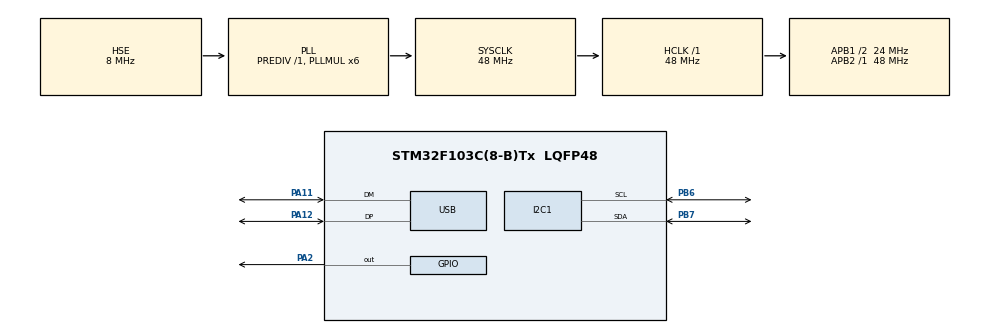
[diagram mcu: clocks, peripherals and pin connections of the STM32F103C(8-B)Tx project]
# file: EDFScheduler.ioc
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FREERTOS.Tasks01=TempTask,25,256,GetTempTask,Default,NULL,Dynamic,NULL,NULL;AccTask,25,256,GetAccTask,Default,NULL,Dynamic,NULL,NULL
FREERTOS.configUSE_NEWLIB_REENTRANT=1
Mcu.Family=STM32F1
Mcu.Name=STM32F103C(8-B)Tx
Mcu.Package=LQFP48
NVIC.PriorityGroup=NVIC_PRIORITYGROUP_4
NVIC.TIM1_UP_IRQn=true\:15\:0\:false\:false\:true\:false\:false\:true\:true
NVIC.TimeBase=TIM1_UP_IRQn
NVIC.TimeBaseIP=TIM1
NVIC.USB_LP_CAN1_RX0_IRQn=true\:5\:0\:false\:false\:true\:true\:false\:true\:true
PA11.Mode=Device
PA11.Signal=USB_DM
PA12.Mode=Device
PA12.Signal=USB_DP
PA13.Mode=Serial_Wire
PA13.Signal=SYS_JTMS-SWDIO
PA14.Mode=Serial_Wire
PA14.Signal=SYS_JTCK-SWCLK
PA2.GPIO_ModeDefaultOutputPP=GPIO_MODE_OUTPUT_PP
PA2.GPIO_PuPd=GPIO_PULLUP
PA2.Signal=GPIO_Output
PB6.Mode=I2C
PB6.Signal=I2C1_SCL
PB7.Mode=I2C
PB7.Signal=I2C1_SDA
PD0-OSC_IN.Mode=HSE-External-Oscillator
PD0-OSC_IN.Signal=RCC_OSC_IN
PD1-OSC_OUT.Mode=HSE-External-Oscillator
PD1-OSC_OUT.Signal=RCC_OSC_OUT
ProjectManager.HeapSize=0x200
ProjectManager.StackSize=0x400
ProjectManager.TargetToolchain=STM32CubeIDE
RCC.AHBFreq_Value=48000000
RCC.APB1CLKDivider=RCC_HCLK_DIV2
RCC.APB1Freq_Value=24000000
RCC.APB1TimFreq_Value=48000000
RCC.APB2Freq_Value=48000000
RCC.APB2TimFreq_Value=48000000
RCC.HCLKFreq_Value=48000000
RCC.PLLMUL=RCC_PLL_MUL6
RCC.SYSCLKFreq_VALUE=48000000
RCC.SYSCLKSource=RCC_SYSCLKSOURCE_PLLCLK
RCC.USBFreq_Value=48000000
USB_DEVICE.CLASS_NAME_FS=CDC
USB_DEVICE.VirtualMode=Cdc
USB_DEVICE.VirtualModeFS=Cdc_FS
VP_FREERTOS_VS_CMSIS_V2.Mode=CMSIS_V2
VP_SYS_VS_tim1.Mode=TIM1
VP_USB_DEVICE_VS_USB_DEVICE_CDC_FS.Mode=CDC_FS
board=custom

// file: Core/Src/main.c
/* USER CODE BEGIN Header */
/**
  ******************************************************************************
  * @file           : main.c
  * @brief          : Main program body
  ******************************************************************************
  * @attention
  *
  * Copyright (c) 2025 STMicroelectronics.
  * All rights reserved.
  *
  * This software is licensed under terms that can be found in the LICENSE file
  * in the root directory of this software component.
  * If no LICENSE file comes with this software, it is provided AS-IS.
  *
  ******************************************************************************
  */
/* USER CODE END Header */
#include "main.h"
#include "cmsis_os.h"
#include "usb_device.h"

/* USER CODE BEGIN Includes */
#include <math.h>
#include<time.h>
#include <SON_CDC_Logger.h>
#include <stdbool.h>
#include <SON_I2C_MPU6050.h>
#include <dht22.h>
#include "usbd_cdc_if.h"
#include <string.h>
/* USER CODE END Includes */

/* USER CODE BEGIN PD */
float temp;
bool status1 = false;
bool status2 = false;
char usb_rx_buffer[64]; // Bộ đệm nhận USB
#define NUM_TASKS 2
/* USER CODE END PD */

/* USER CODE BEGIN PM */
typedef struct {
    uint32_t earliest_deadline;
    uint32_t end_cycle;
    uint32_t deadline;
    uint32_t period;
} TaskState;

TaskState tasks[NUM_TASKS] = {
    {0, 0, 100, 300},  // Temp task
    {0, 0, 50, 150},   // Acc task
};

/* USER CODE END PM */

I2C_HandleTypeDef hi2c1;

/* Definitions for TempTask */
osThreadId_t TempTaskHandle;
const osThreadAttr_t TempTask_attributes = {
  .name = "TempTask",
  .stack_size = 256 * 4,
  .priority = (osPriority_t) osPriorityNormal1,
};
/* Definitions for AccTask */
osThreadId_t AccTaskHandle;
const osThreadAttr_t AccTask_attributes = {
  .name = "AccTask",
  .stack_size = 256 * 4,
  .priority = (osPriority_t) osPriorityNormal1,
};
/* USER CODE BEGIN PV */

void CDC_ReceiveCallback(uint8_t* Buf, uint32_t Len) {
    // Copy dữ liệu nhận vào bộ đệm và thêm ký tự kết thúc chuỗi
    memcpy(usb_rx_buffer, Buf, Len);
    usb_rx_buffer[Len] = '\0'; // Đảm bảo chuỗi kết thúc
     if (strcmp(usb_rx_buffer, "start") == 0) {
            status1 = true; // Bắt đầu hệ thống
            status2 = true;

        } else if (strcmp(usb_rx_buffer, "stop") == 0) {
            status1 = false; // Dừng hệ thống
            status2 = false;
        }

}

uint32_t getCurrentTimeMs() {
    return HAL_GetTick();
}

void updateTaskDeadlines(uint32_t current_time) {
    for (int i = 0; i < NUM_TASKS; i++) {
        if (current_time >= tasks[i].end_cycle) {
            tasks[i].end_cycle += tasks[i].period;
            tasks[i].earliest_deadline = tasks[i].end_cycle - tasks[i].deadline;
        }
    }
}

int getNextTask() {
    int next_task = -1;
    uint32_t earliest_deadline = UINT32_MAX;

    for (int i = 0; i < NUM_TASKS; i++) {
        if (tasks[i].earliest_deadline < earliest_deadline) {
            earliest_deadline = tasks[i].earliest_deadline;
            next_task = i;
        }
    }
    return next_task;
}

/* USER CODE END PV */

void SystemClock_Config(void);
static void MX_GPIO_Init(void);
static void MX_I2C1_Init(void);
void GetTempTask(void *argument);
void GetAccTask(void *argument);

/* USER CODE BEGIN PFP */
void runEDF() {
    uint32_t current_time;
    while (1) {
        if (!status1) {
            osDelay(100); // Tạm dừng nếu hệ thống không hoạt động
            continue;
        }

        current_time = getCurrentTimeMs();
        updateTaskDeadlines(current_time);
        printf("Current Time: %lu ms\n", current_time); // In thời gian hiện tại
        for (int i = 0; i < NUM_TASKS; i++) {
                    printf("Task %d -> Deadline: %lu ms, End Cycle: %lu ms, Period: %lu ms\n",
                        i, tasks[i].earliest_deadline, tasks[i].end_cycle, tasks[i].period);
                }
        int next_task = getNextTask();
        if (next_task == 0) {
        	 printf("Next Task: GetTempTask\n"); // In ra thông báo về task tiếp theo
            GetTempTask(NULL);
        } else if (next_task == 1) {
        	 printf("Next Task: GetAccTask\n"); // In ra thông báo về task tiếp theo
            GetAccTask(NULL);
        }

        osDelay(1000); // Tránh sử dụng quá nhiều CPU
    }
}
/* USER CODE END PFP */

int main(void)
{

  /* MCU Configuration--------------------------------------------------------*/

  /* Reset of all peripherals, Initializes the Flash interface and the Systick. */
  HAL_Init();

  /* Configure the system clock */
  SystemClock_Config();

  /* Initialize all configured peripherals */
  MX_GPIO_Init();
  MX_I2C1_Init();
  /* USER CODE BEGIN 2 */
  MX_USB_DEVICE_Init();
  dht22_init();
 MPU6050_Init();

  /* USER CODE END 2 */

  /* Init scheduler */
  osKernelInitialize();

  /* Create the thread(s) */
  /* creation of TempTask */
  TempTaskHandle = osThreadNew(GetTempTask, NULL, &TempTask_attributes);

  /* creation of AccTask */
  AccTaskHandle = osThreadNew(GetAccTask, NULL, &AccTask_attributes);

  /* Start scheduler */
  osKernelStart();

  /* We should never get here as control is now taken by the scheduler */

  /* Infinite loop */
  /* USER CODE BEGIN WHILE */

  runEDF(); // Chạy EDF scheduler

      while (1) {}

       // Chạy bộ lập lịch để xử lý sự kiện đã thêm

    /* USER CODE END WHILE */

}

void SystemClock_Config(void)
{
  RCC_OscInitTypeDef RCC_OscInitStruct = {0};
  RCC_ClkInitTypeDef RCC_ClkInitStruct = {0};
  RCC_PeriphCLKInitTypeDef PeriphClkInit = {0};

  /** Initializes the RCC Oscillators according to the specified parameters
  * in the RCC_OscInitTypeDef structure.
  */
  RCC_OscInitStruct.OscillatorType = RCC_OSCILLATORTYPE_HSE;
  RCC_OscInitStruct.HSEState = RCC_HSE_ON;
  RCC_OscInitStruct.HSEPredivValue = RCC_HSE_PREDIV_DIV1;
  RCC_OscInitStruct.HSIState = RCC_HSI_ON;
  RCC_OscInitStruct.PLL.PLLState = RCC_PLL_ON;
  RCC_OscInitStruct.PLL.PLLSource = RCC_PLLSOURCE_HSE;
  RCC_OscInitStruct.PLL.PLLMUL = RCC_PLL_MUL6;
  if (HAL_RCC_OscConfig(&RCC_OscInitStruct) != HAL_OK)
  {
    Error_Handler();
  }

  /** Initializes the CPU, AHB and APB buses clocks
  */
  RCC_ClkInitStruct.ClockType = RCC_CLOCKTYPE_HCLK|RCC_CLOCKTYPE_SYSCLK
                              |RCC_CLOCKTYPE_PCLK1|RCC_CLOCKTYPE_PCLK2;
  RCC_ClkInitStruct.SYSCLKSource = RCC_SYSCLKSOURCE_PLLCLK;
  RCC_ClkInitStruct.AHBCLKDivider = RCC_SYSCLK_DIV1;
  RCC_ClkInitStruct.APB1CLKDivider = RCC_HCLK_DIV2;
  RCC_ClkInitStruct.APB2CLKDivider = RCC_HCLK_DIV1;

  if (HAL_RCC_ClockConfig(&RCC_ClkInitStruct, FLASH_LATENCY_1) != HAL_OK)
  {
    Error_Handler();
  }
  PeriphClkInit.PeriphClockSelection = RCC_PERIPHCLK_USB;
  PeriphClkInit.UsbClockSelection = RCC_USBCLKSOURCE_PLL;
  if (HAL_RCCEx_PeriphCLKConfig(&PeriphClkInit) != HAL_OK)
  {
    Error_Handler();
  }
}

static void MX_I2C1_Init(void)
{

  hi2c1.Instance = I2C1;
  hi2c1.Init.ClockSpeed = 100000;
  hi2c1.Init.DutyCycle = I2C_DUTYCYCLE_2;
  hi2c1.Init.OwnAddress1 = 0;
  hi2c1.Init.AddressingMode = I2C_ADDRESSINGMODE_7BIT;
  hi2c1.Init.DualAddressMode = I2C_DUALADDRESS_DISABLE;
  hi2c1.Init.OwnAddress2 = 0;
  hi2c1.Init.GeneralCallMode = I2C_GENERALCALL_DISABLE;
  hi2c1.Init.NoStretchMode = I2C_NOSTRETCH_DISABLE;
  if (HAL_I2C_Init(&hi2c1) != HAL_OK)
  {
    Error_Handler();
  }

}

static void MX_GPIO_Init(void)
{
  GPIO_InitTypeDef GPIO_InitStruct = {0};

  /* GPIO Ports Clock Enable */
  __HAL_RCC_GPIOD_CLK_ENABLE();
  __HAL_RCC_GPIOA_CLK_ENABLE();
  __HAL_RCC_GPIOB_CLK_ENABLE();

  /*Configure GPIO pin Output Level */
  HAL_GPIO_WritePin(GPIOA, GPIO_PIN_2, GPIO_PIN_RESET);

  /*Configure GPIO pin : PA2 */
  GPIO_InitStruct.Pin = GPIO_PIN_2;
  GPIO_InitStruct.Mode = GPIO_MODE_OUTPUT_PP;
  GPIO_InitStruct.Pull = GPIO_PULLUP;
  GPIO_InitStruct.Speed = GPIO_SPEED_FREQ_LOW;
  HAL_GPIO_Init(GPIOA, &GPIO_InitStruct);

}

void GetTempTask(void *argument)
{
  /* init code for USB_DEVICE */
  MX_USB_DEVICE_Init();
  /* USER CODE BEGIN 5 */
  /* Infinite loop */
  for(;;)
  {
	  if (status1) {
		  DHT22_Get_Temp(&temp);

		  	  printf("t=%d\n", (int) temp);
	  }

    osDelay(1000);
  }
  /* USER CODE END 5 */
}

void GetAccTask(void *argument)
{
  /* USER CODE BEGIN GetAccTask */
  /* Infinite loop */
  for(;;)
  {

	  if (status2) {
		  MPU6050_Read_Accel();
		    //	  intPart = (int)floorf(Ax * 100);
	  	  printf("ax=%c%d.%d\n", (Ax < 0) ? '-': '+',(int) Ax, abs( ((int)(Ax * 10000)) % 10000)  );
	  }

    osDelay(1000);
  }
  /* USER CODE END GetAccTask */
}

void HAL_TIM_PeriodElapsedCallback(TIM_HandleTypeDef *htim)
{
  if (htim->Instance == TIM1) {
    HAL_IncTick();
  }
}

void Error_Handler(void)
{
  __disable_irq();
  while (1)
  {
  }
}
